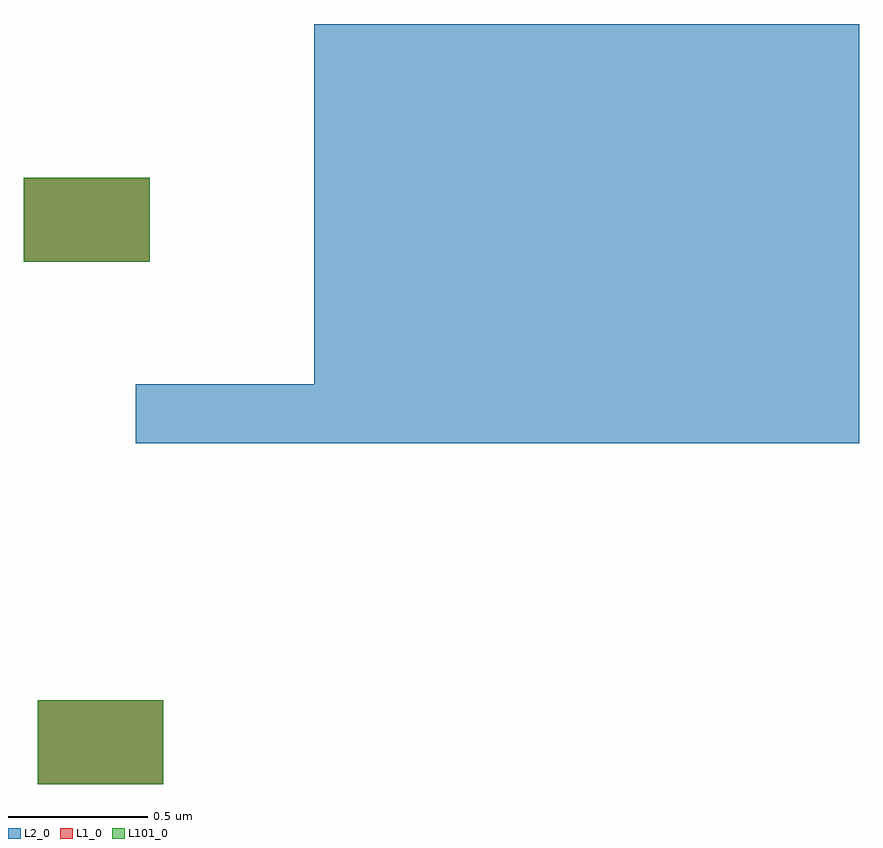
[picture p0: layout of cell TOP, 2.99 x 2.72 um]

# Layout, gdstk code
from math import pi, radians
import gdstk
lib = gdstk.Library(unit=1e-6, precision=1e-09)
def R(c, l, rs):  # rectangles x0, y0, x1, y1
    for r in rs: c.add(gdstk.rectangle(r[:2], r[2:], *l))
def P(c, l, *ps):  # polygons
    for p in ps: c.add(gdstk.Polygon(p, *l))
L1_0 = (1, 0)
L2_0 = (2, 0)
L101_0 = (101, 0)

c_b = lib.new_cell('B')
P(c_b, L2_0, [(0.5,0.5),(0.5,1.79),(-0.14,1.79),(-0.14,2),(2.45,2),(2.45,0.5)])

c_a = lib.new_cell('A')
R(c_a, L1_0, [(0.09,1.05,0.54,1.35), (0.09,1.06,0.37,1.34)])
R(c_a, L101_0, [(0.09,1.05,0.54,1.35), (0.09,1.06,0.37,1.34)])

top = lib.new_cell('TOP')
top.add(gdstk.Reference(c_b, (0.54,3.87), x_reflection=True))
top.add(gdstk.Reference(c_a, (0.59,2), rotation=pi))
top.add(gdstk.Reference(c_a, (0.54,3.87), rotation=pi))

lib.write_gds('TOP.gds')
